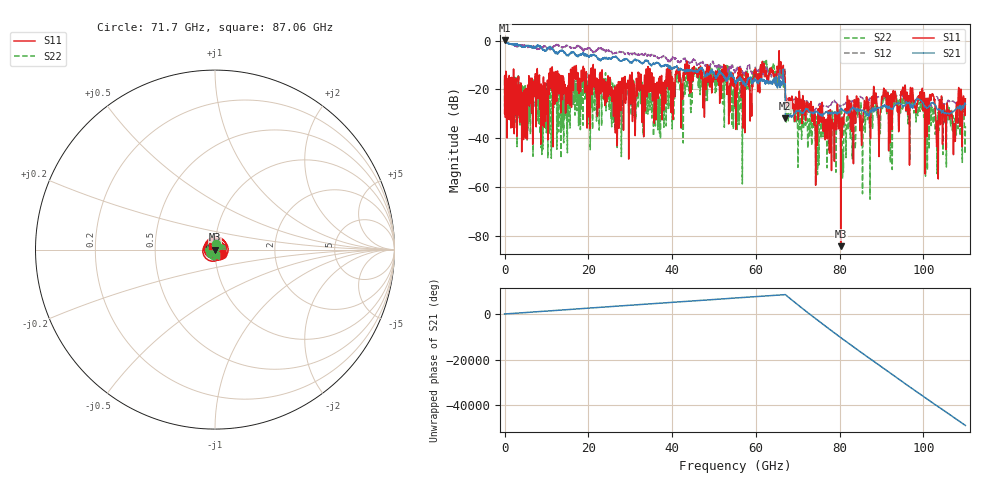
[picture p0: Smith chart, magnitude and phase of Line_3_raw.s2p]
#  HZ  S  RI  R  50.00
! Rohde & Schwarz ZVA67 4Ports - Version 4.11 - 1305.7002k04 SN: 101032
! Date: 2026-02-18 15:32:31
! Measurements: S11 S21 S12 S22
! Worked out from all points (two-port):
!   5500 points, 20 MHz to 110 GHz, reference 50 ohm
!   highest |S21| = 0.04 dB at 20 MHz (marker M1); lowest = -32.0 dB at 67.02 GHz (marker M2)
!   |S21| within 3 dB of the highest: start of sweep to 6.517 GHz; 7.382 GHz to 8.718 GHz (1.335 GHz wide, 16.6 % of centre)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
!   lowest |S11| = -84.3 dB at 80.24 GHz (marker M3), VSWR 1.00, Z = 50 - j0.00606 ohm
!   |S11| at or under -10 dB: start of sweep to 21.15 GHz; 21.17 GHz to 43.08 GHz (21.92 GHz wide, 68.2 % of centre); 66.02 GHz to end of sweep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
!   |S22| runs from -65.1 to -7.7 dB; largest |S21 - S12| = 1.9
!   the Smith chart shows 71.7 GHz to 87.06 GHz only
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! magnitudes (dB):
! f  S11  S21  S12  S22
! 20 MHz  -14.8  0.0  -0.6  -16.0
! 4.9 GHz  -20.6  -2.6  -1.9  -19.1
! 18.36 GHz  -12.2  -5.6  -3.1  -17.6
! 26.52 GHz  -28.3  -6.6  -5.1  -24.6
! 34.5 GHz  -21.0  -9.5  -5.9  -14.3
! 36.68 GHz  -23.7  -9.3  -7.1  -22.5
! 39.24 GHz  -12.8  -11.1  -8.6  -12.8
! 45.56 GHz  -13.3  -12.8  -7.9  -12.5
! 53.2 GHz  -13.4  -15.0  -12.3  -10.1
! 55.02 GHz  -26.9  -17.2  -13.4  -24.8
! 62 GHz  -10.1  -16.5  -14.9  -9.5
! 65.96 GHz  -8.7  -17.0  -15.1  -11.0
! 67.02 GHz  -22.3  -32.0  -23.9  -26.7
! 73.34 GHz  -30.9  -29.7  -28.1  -41.4
! 80.24 GHz  -84.3  -27.7  -26.6  -32.8
! 81.1 GHz  -30.5  -28.9  -26.1  -33.2
! 81.88 GHz  -23.2  -29.8  -25.0  -26.9
! 91.68 GHz  -45.2  -27.1  -22.0  -34.3
! 102 GHz  -22.0  -25.6  -26.9  -27.2
! 103.2 GHz  -41.3  -28.0  -23.1  -41.8
! 107.2 GHz  -44.5  -29.1  -25.0  -33.0
! 110 GHz  -23.9  -26.1  -26.9  -35.2
